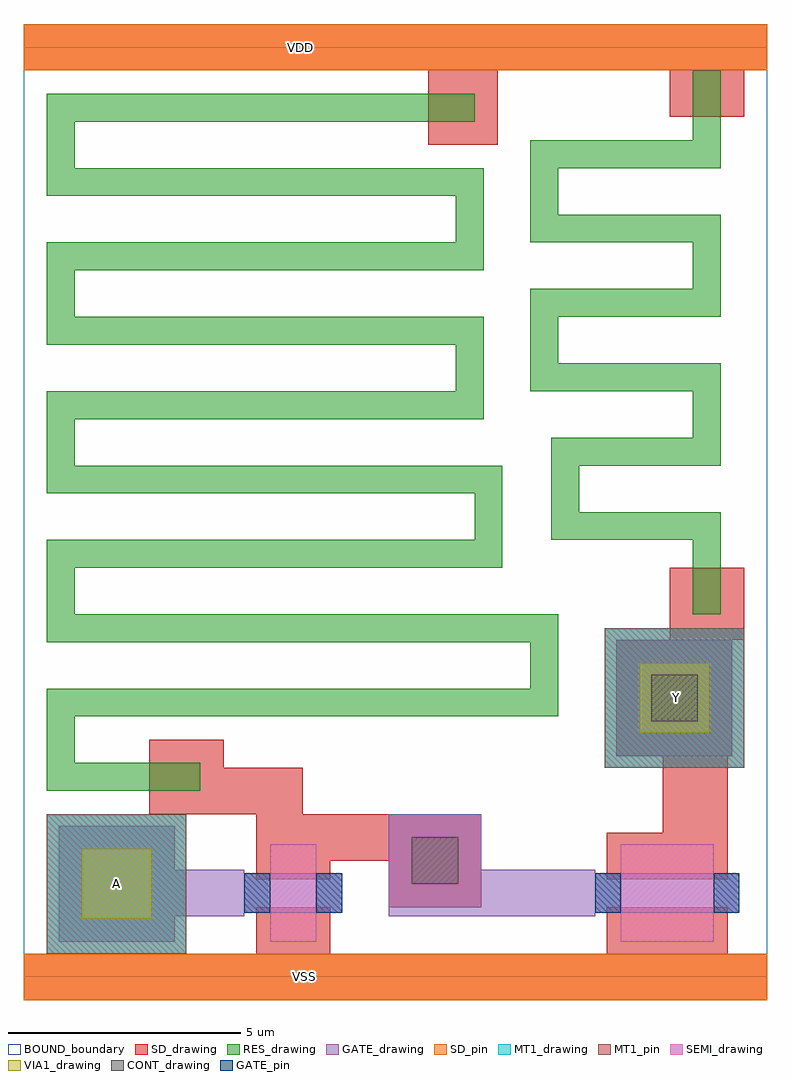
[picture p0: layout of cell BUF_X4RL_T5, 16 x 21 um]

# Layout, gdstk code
from math import pi, radians
import gdstk
lib = gdstk.Library(unit=1e-6, precision=1e-09)
def R(c, l, rs):  # rectangles x0, y0, x1, y1
    for r in rs: c.add(gdstk.rectangle(r[:2], r[2:], *l))
def P(c, l, *ps):  # polygons
    for p in ps: c.add(gdstk.Polygon(p, *l))
RES_drawing = (1, 0)
SEMI_drawing = (3, 0)
SD_drawing = (10, 0)
SD_pin = (10, 3)
GATE_drawing = (11, 0)
GATE_pin = (11, 3)
MT1_drawing = (20, 0)
MT1_pin = (20, 3)
CONT_drawing = (30, 0)
VIA1_drawing = (41, 0)
BOUND_boundary = (150, 5)

nch_cdns_772544864130 = lib.new_cell('nch_CDNS_772544864130')
R(nch_cdns_772544864130, SEMI_drawing, [(-1.05,-0.5,1.05,0.5)])
R(nch_cdns_772544864130, SD_drawing, [(-1.3,-0.8,-0.3,0.8), (0.3,-0.8,1.3,0.8)])
R(nch_cdns_772544864130, GATE_drawing, [(-0.425,-1.05,0.425,1.05)])
R(nch_cdns_772544864130, GATE_pin, [(-0.425,-1.05,0.425,-0.5), (-0.425,0.5,0.425,1.05)])

nch_cdns_772544864131 = lib.new_cell('nch_CDNS_772544864131')
R(nch_cdns_772544864131, SEMI_drawing, [(-1.05,-1,1.05,1)])
R(nch_cdns_772544864131, SD_drawing, [(-1.3,-1.3,-0.3,1.3), (0.3,-1.3,1.3,1.3)])
R(nch_cdns_772544864131, GATE_drawing, [(-0.425,-1.55,0.425,1.55)])
R(nch_cdns_772544864131, GATE_pin, [(-0.425,-1.55,0.425,-1), (-0.425,1,0.425,1.55)])

gate_mt1_cdns_7725448641 = lib.new_cell('GATE_MT1_CDNS_772544864130')
R(gate_mt1_cdns_7725448641, GATE_drawing, [(-1.25,-1.25,1.25,1.25)])
R(gate_mt1_cdns_7725448641, MT1_drawing, [(-1.25,-1.25,1.25,1.25)])
R(gate_mt1_cdns_7725448641, VIA1_drawing, [(-0.75,-0.75,0.75,0.75)])

sd_gate_cdns_77254486413 = lib.new_cell('SD_GATE_CDNS_772544864131')
R(sd_gate_cdns_77254486413, SD_drawing, [(-1,-1,1,1)])
R(sd_gate_cdns_77254486413, GATE_drawing, [(-1,-1,1,1)])
R(sd_gate_cdns_77254486413, CONT_drawing, [(-0.5,-0.5,0.5,0.5)])

buf_x4rl_t5 = lib.new_cell('BUF_X4RL_T5')
R(buf_x4rl_t5, SD_drawing, [(2.7,3.5,4.3,5.1), (12.75,4.75,15.25,7.25), (13.9,7.25,15.5,8.8), (8.7,17.9,10.2,19.5), (13.9,18.5,15.5,20)])
R(buf_x4rl_t5, SD_pin, [(0,-0.5,16,0.5), (0,19.5,16,20.5)])
P(buf_x4rl_t5, GATE_drawing, [(4.65,2.3),(4.65,1.3),(4.75,1.3),(4.75,1.425),(4.8,1.425),(4.8,2.175),(4.75,2.175),(4.75,2.3)],
  [(12.2,2.3),(12.2,1.3),(12.3,1.3),(12.3,1.425),(12.35,1.425),(12.35,2.175),(12.3,2.175),(12.3,2.3)])
R(buf_x4rl_t5, MT1_drawing, [(0.5,0.5,3.5,3.5), (12.5,4.5,15.5,7.5)])
R(buf_x4rl_t5, MT1_pin, [(0.5,0.5,3.5,3.5), (12.5,4.5,15.5,7.5)])
R(buf_x4rl_t5, BOUND_boundary, [(0,0,16,20)])
buf_x4rl_t5.add(gdstk.FlexPath([(12.2,1.8),(8.35,1.8)], 1, ends=(0, 0.5), simple_path=True, layer=11, datatype=0))  # GATE_drawing
buf_x4rl_t5.add(gdstk.FlexPath([(8.35,1.8),(8.35,2.45)], 1, ends=(0.5, 0), simple_path=True, layer=11, datatype=0))  # GATE_drawing
buf_x4rl_t5.add(gdstk.FlexPath([(2,1.8),(2,2)], 1, ends=(0.5, 0), simple_path=True, layer=11, datatype=0))  # GATE_drawing
buf_x4rl_t5.add(gdstk.FlexPath([(4.65,1.8),(2,1.8)], 1, ends=(0, 0.5), simple_path=True, layer=11, datatype=0))  # GATE_drawing
buf_x4rl_t5.add(gdstk.FlexPath([(14.25,6),(14.45,6)], 1.4, ends=(0.8, 0.7), simple_path=True, layer=10, datatype=0))  # SD_drawing
buf_x4rl_t5.add(gdstk.FlexPath([(4.3,4),(5.5,4)], 1, ends=(0, 0.5), simple_path=True, layer=10, datatype=0))  # SD_drawing
buf_x4rl_t5.add(gdstk.FlexPath([(5.5,4),(5.5,3.1)], 1, ends=(0.5, 0), simple_path=True, layer=10, datatype=0))  # SD_drawing
buf_x4rl_t5.add(gdstk.FlexPath([(14.15,6),(13.95,6)], 1.6, ends=(0.8, 0.7), simple_path=True, layer=10, datatype=0))  # SD_drawing
buf_x4rl_t5.add(gdstk.FlexPath([(14.15,6.1),(14.15,6)], 1.6, ends=(0, 0.7), simple_path=True, layer=10, datatype=0))  # SD_drawing
buf_x4rl_t5.add(gdstk.FlexPath([(14.45,6),(14.45,2.1)], 1.4, ends=(0.7, 0), simple_path=True, layer=10, datatype=0))  # SD_drawing
buf_x4rl_t5.add(gdstk.FlexPath([(8.85,3),(5,3)], 1, ends=(0.5, 0), simple_path=True, layer=10, datatype=0))  # SD_drawing
buf_x4rl_t5.add(gdstk.FlexPath([(8.85,2.9),(8.85,3)], 1, ends=(0, 0.5), simple_path=True, layer=10, datatype=0))  # SD_drawing
buf_x4rl_t5.add(gdstk.FlexPath([(0,20),(16,20)], 1, ends="flush", simple_path=True, layer=10, datatype=0))  # SD_drawing
buf_x4rl_t5.add(gdstk.FlexPath([(0,0),(16,0)], 1, ends="flush", simple_path=True, layer=10, datatype=0))  # SD_drawing
buf_x4rl_t5.add(gdstk.FlexPath([(14.7,19.5),(14.7,17.7),(11.2,17.7),(11.2,16.1),(14.7,16.1),(14.7,14.5),(11.2,14.5),(11.2,12.9),(14.7,12.9),(14.7,11.3),(11.65,11.3),(11.65,9.7),(14.7,9.7),(14.7,7.8)], 0.6, ends="flush", simple_path=True, layer=1, datatype=0))  # RES_drawing
buf_x4rl_t5.add(gdstk.FlexPath([(9.7,18.7),(0.8,18.7),(0.8,17.1),(9.6,17.1),(9.6,15.5),(0.8,15.5),(0.8,13.9),(9.6,13.9),(9.6,12.3),(0.8,12.3),(0.8,10.7),(10,10.7),(10,9.1),(0.8,9.1),(0.8,7.5),(11.2,7.5),(11.2,5.9),(0.8,5.9),(0.8,4.3),(3.8,4.3)], 0.6, ends="flush", simple_path=True, layer=1, datatype=0))  # RES_drawing
buf_x4rl_t5.add(gdstk.Reference(nch_cdns_772544864130, (5.8,1.8), rotation=pi/2))
buf_x4rl_t5.add(gdstk.Reference(nch_cdns_772544864131, (13.85,1.8), rotation=pi/2))
buf_x4rl_t5.add(gdstk.Reference(gate_mt1_cdns_7725448641, (14,6)))
buf_x4rl_t5.add(gdstk.Reference(gate_mt1_cdns_7725448641, (2,2)))
buf_x4rl_t5.add(gdstk.Reference(sd_gate_cdns_77254486413, (8.85,2.5)))
buf_x4rl_t5.add(gdstk.Reference(sd_gate_cdns_77254486413, (14,6)))
buf_x4rl_t5.add(gdstk.Label('VSS', (6.05,0), layer=10, texttype=3))
buf_x4rl_t5.add(gdstk.Label('VDD', (5.95,20), layer=10, texttype=3))
buf_x4rl_t5.add(gdstk.Label('Y', (14.05,6), layer=20, texttype=3))
buf_x4rl_t5.add(gdstk.Label('Y', (14.05,6), layer=20, texttype=3))
buf_x4rl_t5.add(gdstk.Label('Y', (14,6), layer=20, texttype=3))
buf_x4rl_t5.add(gdstk.Label('Y', (14.1,6), layer=20, texttype=3))
buf_x4rl_t5.add(gdstk.Label('Y', (14,6), layer=20, texttype=3))
buf_x4rl_t5.add(gdstk.Label('A', (2,2), layer=20, texttype=3))

lib.write_gds('BUF_X4RL_T5.gds')
